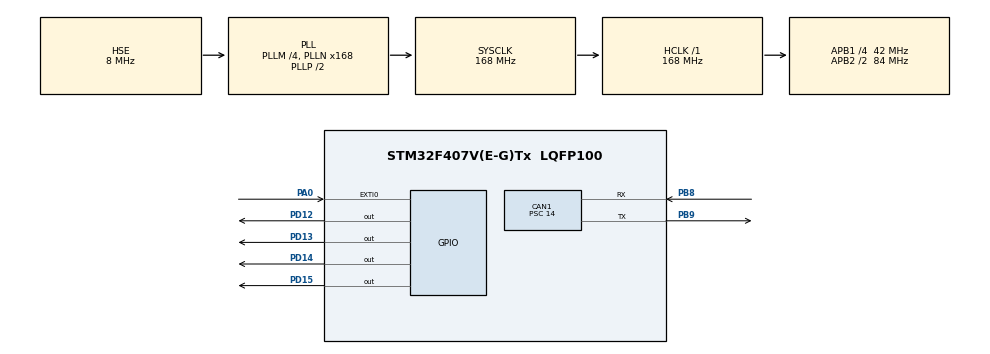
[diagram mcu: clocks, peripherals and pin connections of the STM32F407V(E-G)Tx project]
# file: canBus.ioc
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CAN1.ABOM=DISABLE
CAN1.BS1=CAN_BS1_12TQ
CAN1.BS2=CAN_BS2_2TQ
CAN1.CalculateBaudRate=200000
CAN1.CalculateTimeBit=4999.99
CAN1.CalculateTimeQuantum=333.33333333333337
CAN1.Prescaler=14
Mcu.Family=STM32F4
Mcu.Name=STM32F407V(E-G)Tx
Mcu.Package=LQFP100
NVIC.CAN1_RX0_IRQn=true\:0\:2\:false\:false\:true\:true\:true
NVIC.EXTI0_IRQn=true\:0\:1\:false\:false\:true\:true\:true
NVIC.PriorityGroup=NVIC_PRIORITYGROUP_0
NVIC.TIM1_UP_TIM10_IRQn=true\:0\:0\:false\:false\:true\:false\:true
NVIC.TimeBase=TIM1_UP_TIM10_IRQn
NVIC.TimeBaseIP=TIM1
PA0-WKUP.Signal=GPXTI0
PB8.Mode=CAN_Activate
PB8.Signal=CAN1_RX
PB9.Mode=CAN_Activate
PB9.Signal=CAN1_TX
PD12.Signal=GPIO_Output
PD13.Signal=GPIO_Output
PD14.Signal=GPIO_Output
PD15.Signal=GPIO_Output
PH0-OSC_IN.Mode=HSE-External-Oscillator
PH0-OSC_IN.Signal=RCC_OSC_IN
PH1-OSC_OUT.Mode=HSE-External-Oscillator
PH1-OSC_OUT.Signal=RCC_OSC_OUT
ProjectManager.HeapSize=0x200
ProjectManager.StackSize=0x400
ProjectManager.TargetToolchain=STM32CubeIDE
RCC.48MHZClocksFreq_Value=48000000
RCC.AHBFreq_Value=168000000
RCC.APB1CLKDivider=RCC_HCLK_DIV4
RCC.APB1Freq_Value=42000000
RCC.APB1TimFreq_Value=84000000
RCC.APB2CLKDivider=RCC_HCLK_DIV2
RCC.APB2Freq_Value=84000000
RCC.APB2TimFreq_Value=168000000
RCC.CortexFreq_Value=168000000
RCC.HCLKFreq_Value=168000000
RCC.HSE_VALUE=8000000
RCC.HSI_VALUE=16000000
RCC.LSE_VALUE=32768
RCC.PLLM=4
RCC.PLLN=168
RCC.PLLQ=7
RCC.PLLSourceVirtual=RCC_PLLSOURCE_HSE
RCC.SYSCLKFreq_VALUE=168000000
RCC.SYSCLKSource=RCC_SYSCLKSOURCE_PLLCLK
RCC.VCOOutputFreq_Value=336000000
VP_SYS_VS_tim1.Mode=TIM1
board=STM32F407G-DISC1

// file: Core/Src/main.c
/* USER CODE BEGIN Header */
/**
  ******************************************************************************
  * @file           : main.c
  * @brief          : Main program body
  ******************************************************************************
  * @attention
  *
  * <h2><center>&copy; Copyright (c) 2021 STMicroelectronics.
  * All rights reserved.</center></h2>
  *
  * This software component is licensed by ST under BSD 3-Clause license,
  * the "License"; You may not use this file except in compliance with the
  * License. You may obtain a copy of the License at:
  *                        opensource.org/licenses/BSD-3-Clause
  *
  ******************************************************************************
  */
/* USER CODE END Header */
#include "main.h"

CAN_HandleTypeDef hcan1;

/* USER CODE BEGIN PV */
CAN_TxHeaderTypeDef TxHeader;
CAN_RxHeaderTypeDef RxHeader;
CAN_FilterTypeDef FilterConfig;

uint32_t TxMailbox;
uint8_t TxData[8] = {0,0,0,0,0,0,0,0};
uint8_t RxData[8] = {0,0,0,0,0,0,0,0};
uint8_t a = 0;

/* USER CODE END PV */

void SystemClock_Config(void);
static void MX_GPIO_Init(void);
static void MX_CAN1_Init(void);

int main(void)
{

  /* MCU Configuration--------------------------------------------------------*/

  /* Reset of all peripherals, Initializes the Flash interface and the Systick. */
  HAL_Init();

  /* Configure the system clock */
  SystemClock_Config();

  /* Initialize all configured peripherals */
  MX_GPIO_Init();
  MX_CAN1_Init();
  /* USER CODE BEGIN 2 */
  FilterConfig.FilterBank = 0;  //MASTER
  FilterConfig.FilterMode = CAN_FILTERMODE_IDMASK;
  FilterConfig.FilterFIFOAssignment = CAN_FILTER_FIFO0;
  FilterConfig.FilterIdHigh = 0x245<<5;
  FilterConfig.FilterIdLow = 0;
  FilterConfig.FilterMaskIdHigh = 0;
  FilterConfig.FilterMaskIdLow = 0;
  FilterConfig.FilterScale=CAN_FILTERSCALE_32BIT;
  FilterConfig.FilterActivation= ENABLE;
  FilterConfig.SlaveStartFilterBank = 14;

  TxHeader.DLC = 8;            								// grote van bericht 1 - 8 in bytes
  TxHeader.IDE = CAN_ID_STD;   								// standaard berichten versturen geen debug mode
  TxHeader.RTR = CAN_RTR_DATA;
  TxHeader.StdId = 0x244;        							// identificatie nummer van de CAN deelnemer
  TxHeader.TransmitGlobalTime = DISABLE;

  HAL_CAN_ConfigFilter(&hcan1,&FilterConfig);
  HAL_CAN_Start(&hcan1);
  HAL_CAN_ActivateNotification(&hcan1,CAN_IT_RX_FIFO0_MSG_PENDING);

  /* USER CODE END 2 */

  /* Infinite loop */
  while (1)
  {

    /* USER CODE BEGIN 3 */
	  // VOORBEELD LED aansturen + bericht versturen elke 1,5 seconde
	  //HAL_GPIO_WritePin(GPIOD, GPIO_PIN_15, GPIO_PIN_SET);
	  //TxData[0] = 0x02;
	  //TxData[1] = 0x03;
	  //HAL_CAN_AddTxMessage(&hcan1,&TxHeader,TxData,&TxMailbox);
	  //HAL_Delay(500);
	  //HAL_GPIO_WritePin(GPIOD, GPIO_PIN_15, GPIO_PIN_RESET);
	  //HAL_Delay(1000);
  }
  /* USER CODE END 3 */
}

void SystemClock_Config(void)
{
  RCC_OscInitTypeDef RCC_OscInitStruct = {0};
  RCC_ClkInitTypeDef RCC_ClkInitStruct = {0};

  /** Configure the main internal regulator output voltage
  */
  __HAL_RCC_PWR_CLK_ENABLE();
  __HAL_PWR_VOLTAGESCALING_CONFIG(PWR_REGULATOR_VOLTAGE_SCALE1);
  /** Initializes the RCC Oscillators according to the specified parameters
  * in the RCC_OscInitTypeDef structure.
  */
  RCC_OscInitStruct.OscillatorType = RCC_OSCILLATORTYPE_HSE;
  RCC_OscInitStruct.HSEState = RCC_HSE_ON;
  RCC_OscInitStruct.PLL.PLLState = RCC_PLL_ON;
  RCC_OscInitStruct.PLL.PLLSource = RCC_PLLSOURCE_HSE;
  RCC_OscInitStruct.PLL.PLLM = 4;
  RCC_OscInitStruct.PLL.PLLN = 168;
  RCC_OscInitStruct.PLL.PLLP = RCC_PLLP_DIV2;
  RCC_OscInitStruct.PLL.PLLQ = 7;
  if (HAL_RCC_OscConfig(&RCC_OscInitStruct) != HAL_OK)
  {
    Error_Handler();
  }
  /** Initializes the CPU, AHB and APB buses clocks
  */
  RCC_ClkInitStruct.ClockType = RCC_CLOCKTYPE_HCLK|RCC_CLOCKTYPE_SYSCLK
                              |RCC_CLOCKTYPE_PCLK1|RCC_CLOCKTYPE_PCLK2;
  RCC_ClkInitStruct.SYSCLKSource = RCC_SYSCLKSOURCE_PLLCLK;
  RCC_ClkInitStruct.AHBCLKDivider = RCC_SYSCLK_DIV1;
  RCC_ClkInitStruct.APB1CLKDivider = RCC_HCLK_DIV4;
  RCC_ClkInitStruct.APB2CLKDivider = RCC_HCLK_DIV2;

  if (HAL_RCC_ClockConfig(&RCC_ClkInitStruct, FLASH_LATENCY_5) != HAL_OK)
  {
    Error_Handler();
  }
}

static void MX_CAN1_Init(void)
{

  hcan1.Instance = CAN1;
  hcan1.Init.Prescaler = 14;
  hcan1.Init.Mode = CAN_MODE_NORMAL;
  hcan1.Init.SyncJumpWidth = CAN_SJW_1TQ;
  hcan1.Init.TimeSeg1 = CAN_BS1_12TQ;
  hcan1.Init.TimeSeg2 = CAN_BS2_2TQ;
  hcan1.Init.TimeTriggeredMode = DISABLE;
  hcan1.Init.AutoBusOff = DISABLE;
  hcan1.Init.AutoWakeUp = DISABLE;
  hcan1.Init.AutoRetransmission = DISABLE;
  hcan1.Init.ReceiveFifoLocked = DISABLE;
  hcan1.Init.TransmitFifoPriority = DISABLE;
  if (HAL_CAN_Init(&hcan1) != HAL_OK)
  {
    Error_Handler();
  }

}

static void MX_GPIO_Init(void)
{
  GPIO_InitTypeDef GPIO_InitStruct = {0};

  /* GPIO Ports Clock Enable */
  __HAL_RCC_GPIOH_CLK_ENABLE();
  __HAL_RCC_GPIOA_CLK_ENABLE();
  __HAL_RCC_GPIOD_CLK_ENABLE();
  __HAL_RCC_GPIOB_CLK_ENABLE();

  /*Configure GPIO pin Output Level */
  HAL_GPIO_WritePin(GPIOD, GPIO_PIN_12|GPIO_PIN_13|GPIO_PIN_14|GPIO_PIN_15, GPIO_PIN_RESET);

  /*Configure GPIO pin : PA0 */
  GPIO_InitStruct.Pin = GPIO_PIN_0;
  GPIO_InitStruct.Mode = GPIO_MODE_IT_RISING;
  GPIO_InitStruct.Pull = GPIO_NOPULL;
  HAL_GPIO_Init(GPIOA, &GPIO_InitStruct);

  /*Configure GPIO pins : PD12 PD13 PD14 PD15 */
  GPIO_InitStruct.Pin = GPIO_PIN_12|GPIO_PIN_13|GPIO_PIN_14|GPIO_PIN_15;
  GPIO_InitStruct.Mode = GPIO_MODE_OUTPUT_PP;
  GPIO_InitStruct.Pull = GPIO_NOPULL;
  GPIO_InitStruct.Speed = GPIO_SPEED_FREQ_LOW;
  HAL_GPIO_Init(GPIOD, &GPIO_InitStruct);

  /* EXTI interrupt init*/
  HAL_NVIC_SetPriority(EXTI0_IRQn, 0, 1);
  HAL_NVIC_EnableIRQ(EXTI0_IRQn);

}

void HAL_TIM_PeriodElapsedCallback(TIM_HandleTypeDef *htim)
{
  if (htim->Instance == TIM1) {
    HAL_IncTick();
  }
}

void Error_Handler(void)
{
  __disable_irq();
  while (1)
  {
  }
}

/************************ (C) COPYRIGHT STMicroelectronics *****END OF FILE****/
